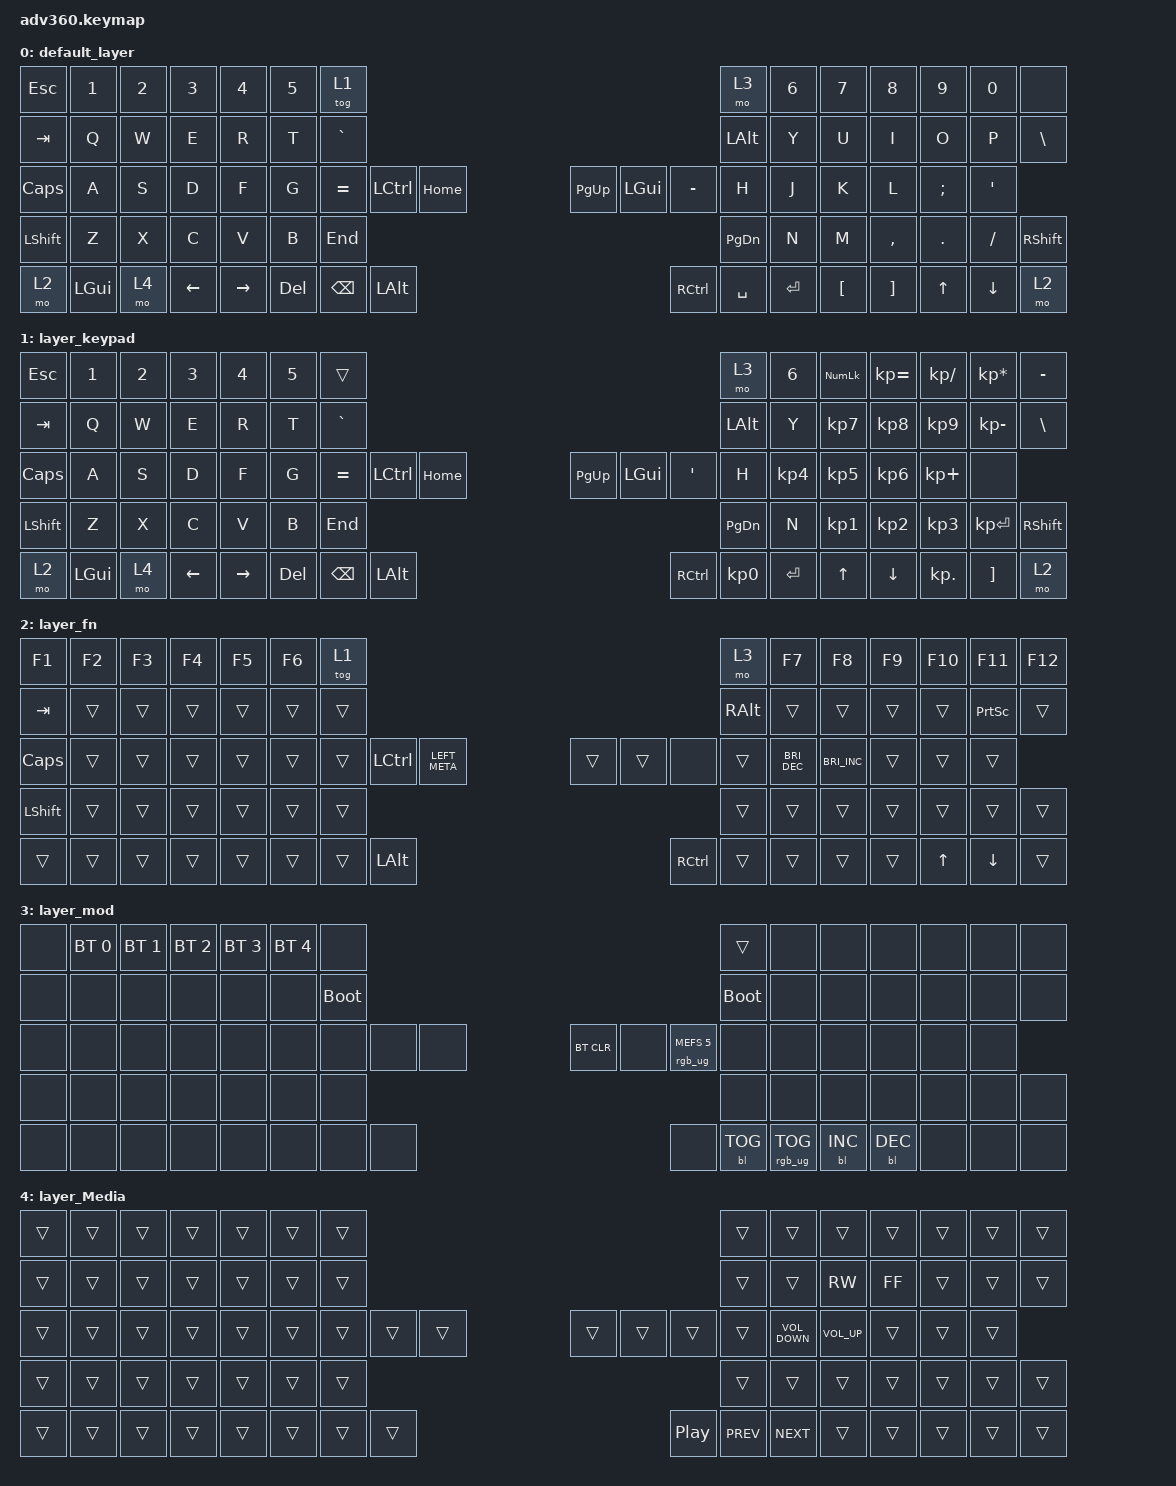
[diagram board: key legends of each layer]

/*
 * Copyright (c) 2020 The ZMK Contributors
 *
 * SPDX-License-Identifier: MIT
 */


/* THIS FILE WAS GENERATED!
 *
 * This file was generated automatically. You may or may not want to
 * edit it directly.
 */

#include <behaviors.dtsi>
#include <dt-bindings/zmk/keys.h>
#include <dt-bindings/zmk/bt.h>
#include <dt-bindings/zmk/rgb.h>
#include <dt-bindings/zmk/backlight.h>

/ {
  behaviors {
    #include "macros.dtsi"
    #include "version.dtsi"

    hm: homerow_mods {
        compatible = "zmk,behavior-hold-tap";
        label = "HOMEROW_MODS";
        #binding-cells = <2>;
        tapping-term-ms = <200>;
        quick_tap_ms = <175>;
        flavor = "tap-preferred";
        bindings = <&kp>, <&kp>;
    };
  };

    keymap {
        compatible = "zmk,keymap";


        default_layer {
            bindings = <
   &kp ESC    &kp N1  &kp N2    &kp N3     &kp N4  &kp N5               &tog 1                                                                     &mo 3  &kp N6    &kp N7     &kp N8   &kp N9    &kp N0          &none
   &kp TAB     &kp Q   &kp W     &kp E      &kp R   &kp T            &kp GRAVE                                                                  &kp LALT   &kp Y     &kp U      &kp I    &kp O     &kp P  &kp BACKSLASH
  &kp CAPS     &kp A   &kp S     &kp D      &kp F   &kp G            &kp EQUAL  &kp LCTRL  &kp HOME                      &kp PG_UP   &kp LGUI  &kp MINUS   &kp H     &kp J      &kp K    &kp L  &kp SEMI        &kp SQT
 &kp LSHFT     &kp Z   &kp X     &kp C      &kp V   &kp B                                   &kp END                  &kp PAGE_DOWN                         &kp N     &kp M  &kp COMMA  &kp DOT  &kp FSLH      &kp RSHFT
     &mo 2  &kp LGUI   &mo 4  &kp LEFT  &kp RIGHT                      &kp DEL   &kp BSPC  &kp LALT                      &kp RCTRL  &kp SPACE  &kp ENTER          &kp LBKT   &kp RBKT   &kp UP  &kp DOWN          &mo 2
            >;
        };

        layer_keypad {
            bindings = <
      &kp ESC    &kp N1  &kp N2    &kp N3     &kp N4  &kp N5                &trans                                                                     &mo 3  &kp N6  &kp KP_NUM  &kp KP_EQUAL  &kp KP_DIVIDE  &kp KP_MULTIPLY      &kp MINUS
      &kp TAB     &kp Q   &kp W     &kp E      &kp R   &kp T             &kp GRAVE                                                                  &kp LALT   &kp Y   &kp KP_N7     &kp KP_N8      &kp KP_N9     &kp KP_MINUS  &kp BACKSLASH
 &kp CAPSLOCK     &kp A   &kp S     &kp D      &kp F   &kp G             &kp EQUAL      &kp LCTRL  &kp HOME                  &kp PG_UP   &kp LGUI    &kp SQT   &kp H   &kp KP_N4     &kp KP_N5      &kp KP_N6      &kp KP_PLUS          &none
    &kp LSHFT     &kp Z   &kp X     &kp C      &kp V   &kp B                                        &kp END                  &kp PG_DN                         &kp N   &kp KP_N1     &kp KP_N2      &kp KP_N3     &kp KP_ENTER      &kp RSHFT
        &mo 2  &kp LGUI   &mo 4  &kp LEFT  &kp RIGHT                    &kp DELETE  &kp BACKSPACE  &kp LALT                  &kp RCTRL  &kp KP_N0  &kp ENTER              &kp UP      &kp DOWN     &kp KP_DOT         &kp RBKT          &mo 2
            >;
        };

        layer_fn {
            bindings = <
       &kp F1  &kp F2  &kp F3  &kp F4  &kp F5  &kp F6            &tog 1                                                                       &mo 3  &kp F7                &kp F8                &kp F9       &kp F10          &kp F11  &kp F12
      &kp TAB  &trans  &trans  &trans  &trans  &trans            &trans                                                               &kp RIGHT_ALT  &trans                &trans                &trans        &trans  &kp PRINTSCREEN   &trans
 &kp CAPSLOCK  &trans  &trans  &trans  &trans  &trans            &trans  &kp LCTRL  &kp LEFT_META                     &trans  &trans          &none  &trans  &kp C_BRIGHTNESS_DEC  &kp C_BRIGHTNESS_INC        &trans           &trans   &trans
   &kp LSHIFT  &trans  &trans  &trans  &trans  &trans                                      &trans                     &trans                         &trans                &trans                &trans        &trans           &trans   &trans
       &trans  &trans  &trans  &trans  &trans                    &trans     &trans   &kp LEFT_ALT                  &kp RCTRL  &trans         &trans                        &trans                &trans  &kp UP_ARROW   &kp DOWN_ARROW   &trans
            >;
        };

        layer_mod {
            bindings = <
  &none  &bt BT_SEL 0  &bt BT_SEL 1  &bt BT_SEL 2  &bt BT_SEL 3  &bt BT_SEL 4                  &none                                                                          &trans   &none       &none       &none   &none   &none   &none
  &none         &none         &none         &none         &none         &none            &bootloader                                                                     &bootloader   &none       &none       &none   &none   &none   &none
  &none         &none         &none         &none         &none         &none                  &none   &none   &none                  &bt BT_CLR       &none  &rgb_ug RGB_MEFS_CMD 5   &none       &none       &none   &none   &none   &none
  &none         &none         &none         &none         &none         &none                                  &none                       &none                                       &none       &none       &none   &none   &none   &none
  &none         &none         &none         &none         &none                                &none   &none   &none                       &none  &bl BL_TOG         &rgb_ug RGB_TOG          &bl BL_INC  &bl BL_DEC   &none   &none   &none
            >;
        };

        layer_Media {
            bindings = <
 &trans  &trans  &trans  &trans  &trans  &trans            &trans                                                                    &trans  &trans             &trans           &trans  &trans  &trans  &trans
 &trans  &trans  &trans  &trans  &trans  &trans            &trans                                                                    &trans  &trans           &kp C_RW         &kp C_FF  &trans  &trans  &trans
 &trans  &trans  &trans  &trans  &trans  &trans            &trans  &trans  &trans                            &trans      &trans      &trans  &trans  &kp C_VOLUME_DOWN  &kp C_VOLUME_UP  &trans  &trans  &trans
 &trans  &trans  &trans  &trans  &trans  &trans                            &trans                            &trans                          &trans             &trans           &trans  &trans  &trans  &trans
 &trans  &trans  &trans  &trans  &trans                    &trans  &trans  &trans                  &kp C_PLAY_PAUSE  &kp C_PREV  &kp C_NEXT                     &trans           &trans  &trans  &trans  &trans
            >;
        };

    };
};
